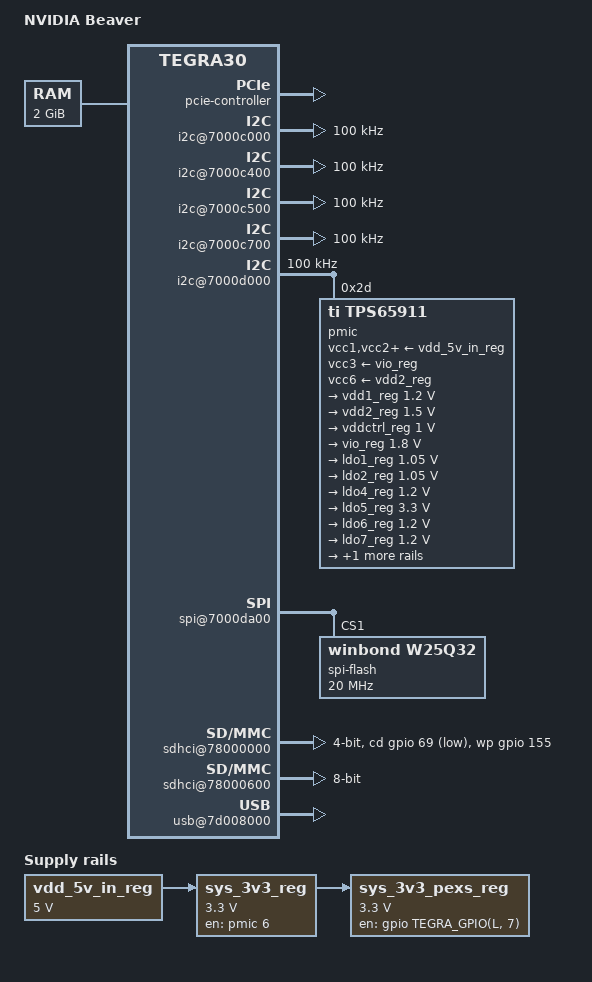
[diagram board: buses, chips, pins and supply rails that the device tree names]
/dts-v1/;

#include "tegra30.dtsi"
#include <dt-bindings/gpio/tegra-gpio.h>
#include <dt-bindings/interrupt-controller/arm-gic.h>

/ {
	model = "NVIDIA Beaver";
	compatible = "nvidia,beaver", "nvidia,tegra30";

	aliases {
		i2c0 = "/i2c@7000d000";
		i2c1 = "/i2c@7000c000";
		i2c2 = "/i2c@7000c400";
		i2c3 = "/i2c@7000c500";
		i2c4 = "/i2c@7000c700";
		sdhci0 = "/sdhci@78000600";
		sdhci1 = "/sdhci@78000000";
		usb0 = "/usb@7d008000";
	};

	memory {
		device_type = "memory";
		reg = <0x80000000 0x7ff00000>;
	};

	pcie-controller {
		status = "okay";
		pex-clk-supply = <&sys_3v3_pexs_reg>;
		vdd-supply = <&ldo1_reg>;
		avdd-supply = <&ldo2_reg>;

		pci@1,0 {
			status = "okay";
			nvidia,num-lanes = <2>;
		};

		pci@2,0 {
			nvidia,num-lanes = <2>;
		};

		pci@3,0 {
			status = "okay";
			nvidia,num-lanes = <2>;
		};
	};

	i2c@7000c000 {
		status = "okay";
		clock-frequency = <100000>;
	};

	i2c@7000c400 {
		status = "okay";
		clock-frequency = <100000>;
	};

	i2c@7000c500 {
		status = "okay";
		clock-frequency = <100000>;
	};

	i2c@7000c700 {
		status = "okay";
		clock-frequency = <100000>;
	};

	i2c@7000d000 {
		status = "okay";
		clock-frequency = <100000>;

		pmic: tps65911@2d {
			compatible = "ti,tps65911";
			reg = <0x2d>;

			interrupts = <GIC_SPI 86 IRQ_TYPE_LEVEL_HIGH>;
			#interrupt-cells = <2>;
			interrupt-controller;

			ti,system-power-controller;

			#gpio-cells = <2>;
			gpio-controller;

			vcc1-supply = <&vdd_5v_in_reg>;
			vcc2-supply = <&vdd_5v_in_reg>;
			vcc3-supply = <&vio_reg>;
			vcc4-supply = <&vdd_5v_in_reg>;
			vcc5-supply = <&vdd_5v_in_reg>;
			vcc6-supply = <&vdd2_reg>;
			vcc7-supply = <&vdd_5v_in_reg>;
			vccio-supply = <&vdd_5v_in_reg>;

			regulators {
				#address-cells = <1>;
				#size-cells = <0>;

				vdd1_reg: vdd1 {
					regulator-name = "vddio_ddr_1v2";
					regulator-min-microvolt = <1200000>;
					regulator-max-microvolt = <1200000>;
					regulator-always-on;
				};

				vdd2_reg: vdd2 {
					regulator-name = "vdd_1v5_gen";
					regulator-min-microvolt = <1500000>;
					regulator-max-microvolt = <1500000>;
					regulator-always-on;
				};

				vddctrl_reg: vddctrl {
					regulator-name = "vdd_cpu,vdd_sys";
					regulator-min-microvolt = <1000000>;
					regulator-max-microvolt = <1000000>;
					regulator-always-on;
				};

				vio_reg: vio {
					regulator-name = "vdd_1v8_gen";
					regulator-min-microvolt = <1800000>;
					regulator-max-microvolt = <1800000>;
					regulator-always-on;
				};

				ldo1_reg: ldo1 {
					regulator-name = "vdd_pexa,vdd_pexb";
					regulator-min-microvolt = <1050000>;
					regulator-max-microvolt = <1050000>;
				};

				ldo2_reg: ldo2 {
					regulator-name = "vdd_sata,avdd_plle";
					regulator-min-microvolt = <1050000>;
					regulator-max-microvolt = <1050000>;
				};

				/* LDO3 is not connected to anything */

				ldo4_reg: ldo4 {
					regulator-name = "vdd_rtc";
					regulator-min-microvolt = <1200000>;
					regulator-max-microvolt = <1200000>;
					regulator-always-on;
				};

				ldo5_reg: ldo5 {
					regulator-name = "vddio_sdmmc,avdd_vdac";
					regulator-min-microvolt = <3300000>;
					regulator-max-microvolt = <3300000>;
					regulator-always-on;
				};

				ldo6_reg: ldo6 {
					regulator-name = "avdd_dsi_csi,pwrdet_mipi";
					regulator-min-microvolt = <1200000>;
					regulator-max-microvolt = <1200000>;
				};

				ldo7_reg: ldo7 {
					regulator-name = "vdd_pllm,x,u,a_p_c_s";
					regulator-min-microvolt = <1200000>;
					regulator-max-microvolt = <1200000>;
					regulator-always-on;
				};

				ldo8_reg: ldo8 {
					regulator-name = "vdd_ddr_hs";
					regulator-min-microvolt = <1000000>;
					regulator-max-microvolt = <1000000>;
					regulator-always-on;
				};
			};
		};
	};

	spi@7000da00 {
		status = "okay";
		spi-max-frequency = <25000000>;
		spi-flash@1 {
			compatible = "winbond,w25q32";
			reg = <1>;
			spi-max-frequency = <20000000>;
		};
	};

	sdhci@78000000 {
		status = "okay";
		cd-gpios = <&gpio 69 1>; /* gpio PI5 */
		wp-gpios = <&gpio 155 0>; /* gpio PT3 */
		power-gpios = <&gpio 31 0>; /* gpio PD7 */
		bus-width = <4>;
	};

	sdhci@78000600 {
		status = "okay";
		bus-width = <8>;
	};

	usb@7d008000 {
		nvidia,vbus-gpio = <&gpio 236 0>; /* PDD4 */
		status = "okay";
	};

	regulators {
		compatible = "simple-bus";
		#address-cells = <1>;
		#size-cells = <0>;

		vdd_5v_in_reg: regulator@0 {
			compatible = "regulator-fixed";
			reg = <0>;
			regulator-name = "vdd_5v_in";
			regulator-min-microvolt = <5000000>;
			regulator-max-microvolt = <5000000>;
			regulator-always-on;
		};

		sys_3v3_reg: regulator@6 {
			compatible = "regulator-fixed";
			reg = <6>;
			regulator-name = "sys_3v3,vdd_3v3_alw";
			regulator-min-microvolt = <3300000>;
			regulator-max-microvolt = <3300000>;
			regulator-always-on;
			regulator-boot-on;
			enable-active-high;
			gpio = <&pmic 6 GPIO_ACTIVE_HIGH>;
			vin-supply = <&vdd_5v_in_reg>;
		};

		sys_3v3_pexs_reg: regulator@7 {
			compatible = "regulator-fixed";
			reg = <7>;
			regulator-name = "sys_3v3_pexs";
			regulator-min-microvolt = <3300000>;
			regulator-max-microvolt = <3300000>;
			regulator-always-on;
			regulator-boot-on;
			enable-active-high;
			gpio = <&gpio TEGRA_GPIO(L, 7) GPIO_ACTIVE_HIGH>;
			vin-supply = <&sys_3v3_reg>;
		};
	};
};
